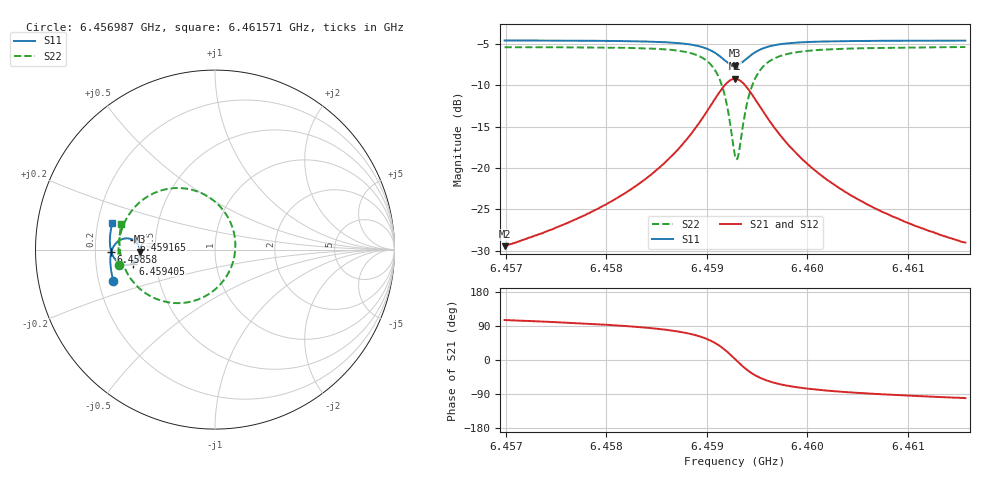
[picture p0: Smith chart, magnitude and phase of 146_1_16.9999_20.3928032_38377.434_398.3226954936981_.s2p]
#  HZ  S  RI  R  50.00
! Rohde & Schwarz Vector Network Analyzer
! Rohde-Schwarz,ZNB20-2Port,1311601062101988,3.16
! Created: UTC 3/20/2024, 10:58:38 PM
! freq[Hz]  re:S11  im:S11  re:S21  im:S21  re:S12  im:S12  re:S22  im:S22
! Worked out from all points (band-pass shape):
!   401 points, 6.456987 GHz to 6.461571 GHz, reference 50 ohm
!   highest |S21| = -9.20 dB at 6.459279 GHz (marker M1); lowest = -29.5 dB at 6.456987 GHz (marker M2)
!   |S21| within 3 dB of the highest: 6.45905 GHz to 6.459508 GHz (458.2 kHz wide, 0.00709 % of centre)
!   lowest |S11| = -7.6 dB at 6.459279 GHz (marker M3), VSWR 2.43, Z = 20.6 - j0.579 ohm
!   |S11| at or under -10 dB: nowhere
!   |S22| runs from -18.9 to -5.3 dB; largest |S21 - S12| = 0.014
!   S11 on the Smith chart (normalised r, x): 6.456987 GHz: 0.26, -0.14; 6.45858 GHz: 0.27, -0.01; 6.459165 GHz: 0.37, +0.05; 6.459405 GHz: 0.37, -0.07; 6.461571 GHz: 0.26, +0.12
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6.4569869e9  -0.5664 -0.1728  -0.00899 0.0324  -0.00727 0.0325  -0.5324 -0.0848
6.4577548e9  -0.5804 -0.1055  -0.00571 0.0506  -0.00311 0.0499  -0.5379 0.00516
6.4581789e9  -0.5834 -0.0629  0.000211 0.0702  0.00353 0.0688  -0.5297 0.0724
6.4585227e9  -0.5796 -0.0218  0.014 0.0991  0.018 0.0964  -0.5041 0.1502
6.45858e9  -0.5778 -0.0139  0.0186 0.106  0.0225 0.103  -0.4961 0.1668
6.4587863e9  -0.5646 0.0184  0.046 0.1387  0.0501 0.1337  -0.4445 0.2398
6.4589353e9  -0.542 0.0447  0.0916 0.1693  0.0947 0.1626  -0.3607 0.3043
6.4590728e9  -0.4979 0.0624  0.1792 0.186  0.1799 0.1787  -0.201 0.343
6.4591645e9  -0.4529 0.0521  0.2695 0.1546  0.2697 0.1487  -0.034 0.2924
6.4592333e9  -0.4238 0.0198  0.3302 0.0823  0.3323 0.0771  0.0816 0.1621
6.4592791e9  -0.4168 -0.0116  0.3466 0.0142  0.3502 0.0073  0.1134 0.0348
6.4592906e9  -0.4173 -0.0197  0.3463 -0.00368  0.3501 -0.0113  0.1129 0.00108
6.4593135e9  -0.4208 -0.0353  0.3407 -0.0386  0.3445 -0.0476  0.1017 -0.0646
6.4593594e9  -0.4366 -0.0616  0.312 -0.0986  0.314 -0.1104  0.0436 -0.1778
6.4594052e9  -0.4588 -0.078  0.2695 -0.1396  0.2688 -0.1528  -0.0418 -0.2525
6.4594969e9  -0.5022 -0.0849  0.1848 -0.1706  0.1786 -0.1823  -0.2108 -0.2982
6.4596459e9  -0.5463 -0.0645  0.0967 -0.1568  0.0883 -0.163  -0.3783 -0.2486
6.4598063e9  -0.5679 -0.0368  0.0517 -0.1288  0.0441 -0.1317  -0.4585 -0.1766
6.460047e9  -0.5808 -0.00126  0.0226 -0.0973  0.0167 -0.0979  -0.5065 -0.0942
6.4603794e9  -0.5855 0.0384  0.00679 -0.0711  0.00266 -0.0709  -0.5277 -0.0175
6.4608149e9  -0.5838 0.0824  -0.00131 -0.052  -0.00416 -0.0512  -0.5324 0.0528
6.4615713e9  -0.5719 0.1494  -0.00657 -0.0348  -0.00814 -0.0337  -0.5213 0.1424
